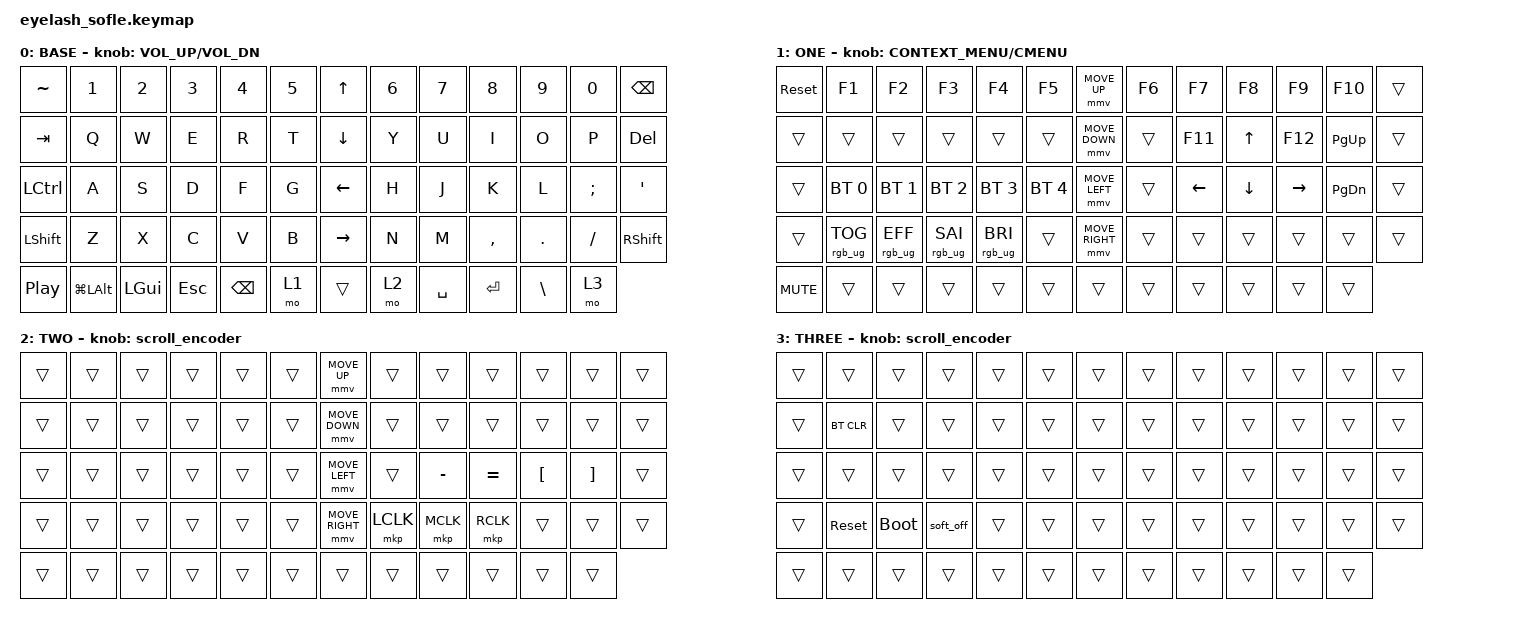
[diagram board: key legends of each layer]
#define ZMK_POINTING_DEFAULT_MOVE_VAL 1200  // 600
#define ZMK_POINTING_DEFAULT_SCRL_VAL 25   // 10

#include <input/processors.dtsi>
#include <zephyr/dt-bindings/input/input-event-codes.h>
#include <behaviors.dtsi>
#include <dt-bindings/zmk/bt.h>
#include <dt-bindings/zmk/keys.h>
#include <dt-bindings/zmk/pointing.h>
#include <dt-bindings/zmk/rgb.h>

&mmv_input_listener { input-processors = <&zip_xy_scaler 2 1>; };

&msc_input_listener { input-processors = <&zip_scroll_scaler 2 1>; };

&msc {
    acceleration-exponent = <1>;      // 0
    time-to-max-speed-ms = <100>;       // 300
    delay-ms = <0>;                   // 0
};

&mmv {
    time-to-max-speed-ms = <500>;
    acceleration-exponent = <1>;
    trigger-period-ms = <16>;
};

&soft_off { hold-time-ms = <2000>; };

/ {
    scroll_encoder: scroll_encoder {
        compatible = "zmk,behavior-sensor-rotate";
        #sensor-binding-cells = <0>;
        bindings = <&msc SCRL_DOWN>, <&msc SCRL_UP>;

        tap-ms = <100>;
    };

    behaviors {
    };

    combos {
        compatible = "zmk,combos";

        softoff {
            bindings = <&soft_off>;
            key-positions = <14 28 40>;
        };
    };

    keymap {
        compatible = "zmk,keymap";

        BASE {
            bindings = <
&kp TILDE         &kp N1            &kp N2        &kp N3   &kp N4         &kp N5    &kp UP_ARROW     &kp N6  &kp N7     &kp N8     &kp N9         &kp N0    &kp BACKSPACE
&kp TAB           &kp Q             &kp W         &kp E    &kp R          &kp T     &kp DOWN_ARROW   &kp Y   &kp U      &kp I      &kp O          &kp P     &kp DEL
&kp LCTRL         &kp A             &kp S         &kp D    &kp F          &kp G     &kp LEFT_ARROW   &kp H   &kp J      &kp K      &kp L          &kp SEMI  &kp APOS
&kp LSHFT         &kp Z             &kp X         &kp C    &kp V          &kp B     &kp RIGHT_ARROW  &kp N   &kp M      &kp COMMA  &kp DOT        &kp FSLH  &kp RIGHT_SHIFT
&kp C_PLAY_PAUSE  &kp LG(LEFT_ALT)  &kp LEFT_GUI  &kp ESC  &kp BACKSPACE  &mo 1     &trans           &mo 2   &kp SPACE  &kp ENTER  &kp BACKSLASH  &mo 3
            >;

            sensor-bindings = <&inc_dec_kp C_VOLUME_UP C_VOL_DN>;
            display-name = "BASE";
        };

        ONE {
            bindings = <
&sys_reset  &kp F1           &kp F2           &kp F3           &kp F4           &kp F5          &mmv MOVE_UP     &kp F6  &kp F7    &kp F8    &kp F9     &kp F10        &trans
&trans      &trans           &trans           &trans           &trans           &trans          &mmv MOVE_DOWN   &trans  &kp F11   &kp UP    &kp F12    &kp PAGE_UP    &trans
&trans      &bt BT_SEL 0     &bt BT_SEL 1     &bt BT_SEL 2     &bt BT_SEL 3     &bt BT_SEL 4    &mmv MOVE_LEFT   &trans  &kp LEFT  &kp DOWN  &kp RIGHT  &kp PAGE_DOWN  &trans
&trans      &rgb_ug RGB_TOG  &rgb_ug RGB_EFF  &rgb_ug RGB_SAI  &rgb_ug RGB_BRI  &trans          &mmv MOVE_RIGHT  &trans  &trans    &trans    &trans     &trans         &trans
&kp C_MUTE  &trans           &trans           &trans           &trans           &trans          &trans           &trans  &trans    &trans    &trans     &trans
            >;

            display-name = "ONE";
            sensor-bindings = <&inc_dec_kp K_CONTEXT_MENU K_CMENU>;
        };

        TWO {
            bindings = <
&trans  &trans  &trans  &trans  &trans  &trans    &mmv MOVE_UP     &trans     &trans     &trans     &trans            &trans             &trans
&trans  &trans  &trans  &trans  &trans  &trans    &mmv MOVE_DOWN   &trans     &trans     &trans     &trans            &trans             &trans
&trans  &trans  &trans  &trans  &trans  &trans    &mmv MOVE_LEFT   &trans     &kp MINUS  &kp EQUAL  &kp LEFT_BRACKET  &kp RIGHT_BRACKET  &trans
&trans  &trans  &trans  &trans  &trans  &trans    &mmv MOVE_RIGHT  &mkp LCLK  &mkp MCLK  &mkp RCLK  &trans            &trans             &trans
&trans  &trans  &trans  &trans  &trans  &trans    &trans           &trans     &trans     &trans     &trans            &trans
            >;

            sensor-bindings = <&scroll_encoder>;
        };

        THREE {
            bindings = <
&trans  &trans      &trans       &trans     &trans  &trans    &trans  &trans  &trans  &trans  &trans  &trans  &trans
&trans  &bt BT_CLR  &trans       &trans     &trans  &trans    &trans  &trans  &trans  &trans  &trans  &trans  &trans
&trans  &trans      &trans       &trans     &trans  &trans    &trans  &trans  &trans  &trans  &trans  &trans  &trans
&trans  &sys_reset  &bootloader  &soft_off  &trans  &trans    &trans  &trans  &trans  &trans  &trans  &trans  &trans
&trans  &trans      &trans       &trans     &trans  &trans    &trans  &trans  &trans  &trans  &trans  &trans
            >;

            sensor-bindings = <&scroll_encoder>;
        };
    };
};
